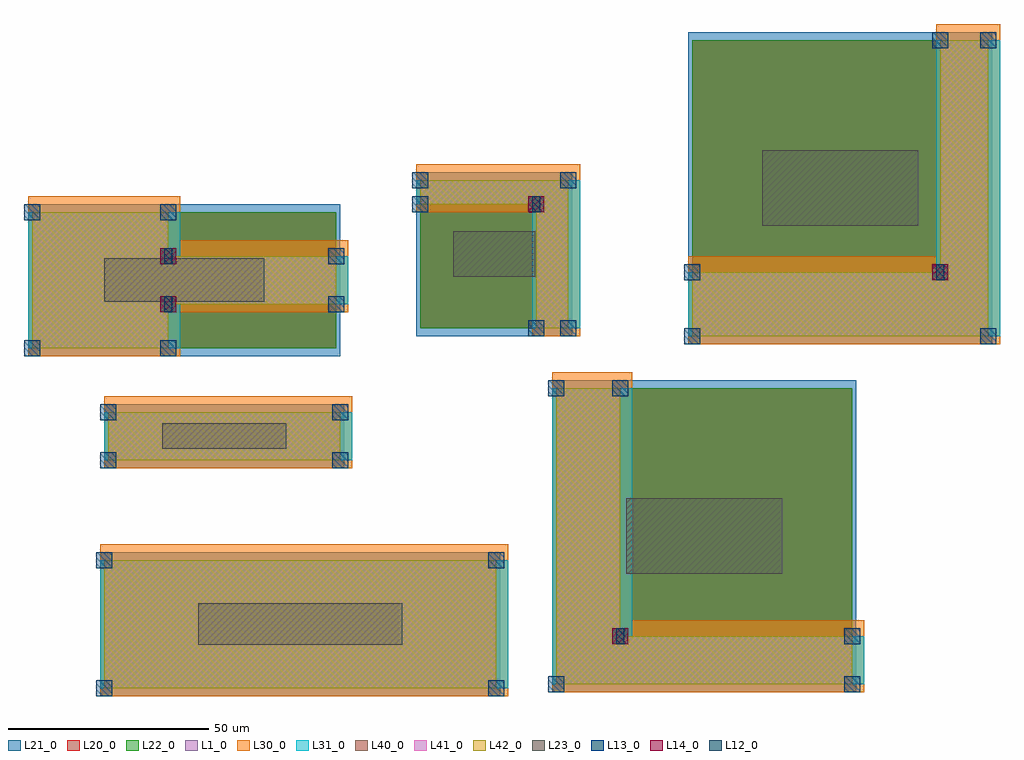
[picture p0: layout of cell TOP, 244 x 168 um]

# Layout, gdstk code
import gdstk
lib = gdstk.Library(unit=1e-6, precision=1e-09)
def R(c, l, rs):  # rectangles x0, y0, x1, y1
    for r in rs: c.add(gdstk.rectangle(r[:2], r[2:], *l))
def A(c, l, x, y, w, h, nx, ny, dx, dy):  # array of equal rectangles
    R(c, l, [(x+i*dx, y+j*dy, x+i*dx+w, y+j*dy+h) for i in range(nx) for j in range(ny)])
def P(c, l, *ps):  # polygons
    for p in ps: c.add(gdstk.Polygon(p, *l))
L1_0 = (1, 0)
L10_0 = (10, 0)
L11_0 = (11, 0)
L12_0 = (12, 0)
L13_0 = (13, 0)
L14_0 = (14, 0)
L20_0 = (20, 0)
L21_0 = (21, 0)
L22_0 = (22, 0)
L23_0 = (23, 0)
L24_0 = (24, 0)
L25_0 = (25, 0)
L26_0 = (26, 0)
L30_0 = (30, 0)
L31_0 = (31, 0)
L40_0 = (40, 0)
L41_0 = (41, 0)
L42_0 = (42, 0)

top = lib.new_cell('TOP')
A(top, L1_0, 7, -100, 58, 12, 1, 5, 0, 5)
A(top, L1_0, 47, -100, 58, 12, 1, 5, 0, 5)
R(top, L1_0, [(120,-99,194,-87), (120,-99,136,-25), (8,-43,66,-31), (-11,-15,23,19), (154,-12,228,4), (216,-12,228,62), (115,-10,123,27), (7,-4,65,8), (86,21,123,27)])
R(top, L12_0, [(135,-89,137,-85), (22,-6,24,-2), (215,2,217,6), (22,6,24,10), (114,19,116,23)])
R(top, L13_0, [(5,-102,9,-98), (103,-102,107,-98), (118,-101,122,-97), (192,-101,196,-97), (134,-89,138,-85), (192,-89,196,-85), (5,-70,9,-66), (103,-70,107,-66), (6,-45,10,-41), (64,-45,68,-41), (6,-33,10,-29), (64,-33,68,-29), (118,-27,122,-23), (134,-27,138,-23), (-13,-17,-9,-13), (21,-17,25,-13), (152,-14,156,-10), (226,-14,230,-10), (113,-12,117,-8), (121,-12,125,-8), (21,-6,25,-2), (63,-6,67,-2), (152,2,156,6), (214,2,218,6), (21,6,25,10), (63,6,67,10), (-13,17,-9,21), (21,17,25,21), (84,19,88,23), (113,19,117,23), (84,25,88,29), (121,25,125,29), (214,60,218,64), (226,60,230,64)])
R(top, L14_0, [(134,-89,138,-85), (21,-6,25,-2), (214,2,218,6), (21,6,25,10), (113,19,117,23)])
R(top, L20_0, [(7,-100,105,-68), (120,-99,194,-25), (8,-43,66,-31), (-11,-15,65,19), (154,-12,228,62), (86,-10,123,27)])
R(top, L21_0, [(6,-102,106,-66), (119,-101,195,-23), (7,-45,67,-29), (-12,-17,66,21), (153,-14,229,64), (85,-12,124,29)])
R(top, L22_0, [(7,-100,105,-68), (120,-99,194,-25), (8,-43,66,-31), (-11,-15,65,19), (154,-12,228,62), (86,-10,123,27)])
R(top, L23_0, [(30.5,-89.2,81.5,-78.8), (137.5,-71.4,176.5,-52.6), (21.5,-40.2,52.5,-33.8), (7,-3.4,47,7.4), (94.25,2.8,114.75,14.2), (171.5,15.6,210.5,34.4)])
R(top, L30_0, [(6,-102,108,-64), (7,-45,69,-27)])
P(top, L30_0, [(119,-101),(119,-21),(139,-21),(139,-83),(197,-83),(197,-101)],
  [(-12,-17),(-12,23),(26,23),(26,12),(68,12),(68,-6),(26,-6),(26,-17)],
  [(114,-12),(114,19),(85,19),(85,31),(126,31),(126,-12)],
  [(153,-14),(153,8),(215,8),(215,66),(231,66),(231,-14)])
R(top, L31_0, [(6,-100,108,-68), (7,-43,69,-31)])
P(top, L31_0, [(119,-99),(119,-25),(139,-25),(139,-87),(197,-87),(197,-99)],
  [(-12,-15),(-12,19),(26,19),(26,8),(68,8),(68,-4),(26,-4),(26,-15)],
  [(114,-10),(114,21),(85,21),(85,27),(126,27),(126,-10)],
  [(153,-12),(153,4),(215,4),(215,62),(231,62),(231,-12)])
R(top, L40_0, [(7,-100,105,-68), (120,-99,194,-87), (120,-87,136,-25), (8,-43,66,-31), (-11,-15,23,19), (154,-12,216,4), (216,-12,228,62), (115,-10,123,21), (23,-4,65,8), (86,21,123,27)])
R(top, L41_0, [(7,-100,105,-68), (120,-99,136,-25), (136,-99,194,-87), (8,-43,66,-31), (-11,-15,23,19), (154,-12,216,4), (216,-12,228,62), (115,-10,123,27), (23,-4,65,8), (86,21,115,27)])
R(top, L42_0, [(7,-100,105,-68), (120,-99,194,-87), (120,-87,136,-25), (8,-43,66,-31), (-11,-15,23,-4), (154,-12,228,4), (115,-10,123,21), (-11,-4,65,8), (216,4,228,62), (-11,8,23,19), (86,21,123,27)])
top.add(gdstk.FlexPath([(105,-100),(105,-100)], 0, ends="flush", simple_path=True, layer=10, datatype=0))  # L10_0
top.add(gdstk.FlexPath([(7,-100),(7,-100)], 0, ends="flush", simple_path=True, layer=10, datatype=0))  # L10_0
top.add(gdstk.FlexPath([(7,-68),(7,-68)], 0, ends="flush", simple_path=True, layer=10, datatype=0))  # L10_0
top.add(gdstk.FlexPath([(105,-68),(105,-68)], 0, ends="flush", simple_path=True, layer=10, datatype=0))  # L10_0
top.add(gdstk.FlexPath([(66,-43),(66,-43)], 0, ends="flush", simple_path=True, layer=10, datatype=0))  # L10_0
top.add(gdstk.FlexPath([(8,-43),(8,-43)], 0, ends="flush", simple_path=True, layer=10, datatype=0))  # L10_0
top.add(gdstk.FlexPath([(8,-31),(8,-31)], 0, ends="flush", simple_path=True, layer=10, datatype=0))  # L10_0
top.add(gdstk.FlexPath([(66,-31),(66,-31)], 0, ends="flush", simple_path=True, layer=10, datatype=0))  # L10_0
top.add(gdstk.FlexPath([(194,-99),(194,-99)], 0, ends="flush", simple_path=True, layer=10, datatype=0))  # L10_0
top.add(gdstk.FlexPath([(120,-99),(120,-99)], 0, ends="flush", simple_path=True, layer=10, datatype=0))  # L10_0
top.add(gdstk.FlexPath([(120,-25),(120,-25)], 0, ends="flush", simple_path=True, layer=10, datatype=0))  # L10_0
top.add(gdstk.FlexPath([(136,-25),(136,-25)], 0, ends="flush", simple_path=True, layer=10, datatype=0))  # L10_0
top.add(gdstk.FlexPath([(136,-87),(136,-87)], 0, ends="flush", simple_path=True, layer=10, datatype=0))  # L10_0
top.add(gdstk.FlexPath([(194,-87),(194,-87)], 0, ends="flush", simple_path=True, layer=10, datatype=0))  # L10_0
top.add(gdstk.FlexPath([(23,-15),(23,-15)], 0, ends="flush", simple_path=True, layer=10, datatype=0))  # L10_0
top.add(gdstk.FlexPath([(-11,-15),(-11,-15)], 0, ends="flush", simple_path=True, layer=10, datatype=0))  # L10_0
top.add(gdstk.FlexPath([(-11,19),(-11,19)], 0, ends="flush", simple_path=True, layer=10, datatype=0))  # L10_0
top.add(gdstk.FlexPath([(23,19),(23,19)], 0, ends="flush", simple_path=True, layer=10, datatype=0))  # L10_0
top.add(gdstk.FlexPath([(23,8),(23,8)], 0, ends="flush", simple_path=True, layer=10, datatype=0))  # L10_0
top.add(gdstk.FlexPath([(65,8),(65,8)], 0, ends="flush", simple_path=True, layer=10, datatype=0))  # L10_0
top.add(gdstk.FlexPath([(65,-4),(65,-4)], 0, ends="flush", simple_path=True, layer=10, datatype=0))  # L10_0
top.add(gdstk.FlexPath([(23,-4),(23,-4)], 0, ends="flush", simple_path=True, layer=10, datatype=0))  # L10_0
top.add(gdstk.FlexPath([(123,-10),(123,-10)], 0, ends="flush", simple_path=True, layer=10, datatype=0))  # L10_0
top.add(gdstk.FlexPath([(115,-10),(115,-10)], 0, ends="flush", simple_path=True, layer=10, datatype=0))  # L10_0
top.add(gdstk.FlexPath([(115,21),(115,21)], 0, ends="flush", simple_path=True, layer=10, datatype=0))  # L10_0
top.add(gdstk.FlexPath([(86,21),(86,21)], 0, ends="flush", simple_path=True, layer=10, datatype=0))  # L10_0
top.add(gdstk.FlexPath([(86,27),(86,27)], 0, ends="flush", simple_path=True, layer=10, datatype=0))  # L10_0
top.add(gdstk.FlexPath([(123,27),(123,27)], 0, ends="flush", simple_path=True, layer=10, datatype=0))  # L10_0
top.add(gdstk.FlexPath([(228,-12),(228,-12)], 0, ends="flush", simple_path=True, layer=10, datatype=0))  # L10_0
top.add(gdstk.FlexPath([(154,-12),(154,-12)], 0, ends="flush", simple_path=True, layer=10, datatype=0))  # L10_0
top.add(gdstk.FlexPath([(154,4),(154,4)], 0, ends="flush", simple_path=True, layer=10, datatype=0))  # L10_0
top.add(gdstk.FlexPath([(216,4),(216,4)], 0, ends="flush", simple_path=True, layer=10, datatype=0))  # L10_0
top.add(gdstk.FlexPath([(216,62),(216,62)], 0, ends="flush", simple_path=True, layer=10, datatype=0))  # L10_0
top.add(gdstk.FlexPath([(228,62),(228,62)], 0, ends="flush", simple_path=True, layer=10, datatype=0))  # L10_0
top.add(gdstk.FlexPath([(136,-87),(136,-87)], 0, ends="flush", simple_path=True, layer=11, datatype=0))  # L11_0
top.add(gdstk.FlexPath([(23,8),(23,8)], 0, ends="flush", simple_path=True, layer=11, datatype=0))  # L11_0
top.add(gdstk.FlexPath([(23,-4),(23,-4)], 0, ends="flush", simple_path=True, layer=11, datatype=0))  # L11_0
top.add(gdstk.FlexPath([(115,21),(115,21)], 0, ends="flush", simple_path=True, layer=11, datatype=0))  # L11_0
top.add(gdstk.FlexPath([(216,4),(216,4)], 0, ends="flush", simple_path=True, layer=11, datatype=0))  # L11_0
top.add(gdstk.FlexPath([(7,-100),(105,-68)], 0, ends="flush", simple_path=True, layer=24, datatype=0))  # L24_0
top.add(gdstk.FlexPath([(8,-43),(66,-31)], 0, ends="flush", simple_path=True, layer=24, datatype=0))  # L24_0
top.add(gdstk.FlexPath([(120,-99),(194,-25)], 0, ends="flush", simple_path=True, layer=24, datatype=0))  # L24_0
top.add(gdstk.FlexPath([(-11,-15),(65,19)], 0, ends="flush", simple_path=True, layer=24, datatype=0))  # L24_0
top.add(gdstk.FlexPath([(86,-10),(123,27)], 0, ends="flush", simple_path=True, layer=24, datatype=0))  # L24_0
top.add(gdstk.FlexPath([(154,-12),(228,62)], 0, ends="flush", simple_path=True, layer=24, datatype=0))  # L24_0
top.add(gdstk.FlexPath([(56,-84),(56,-84)], 0, ends="flush", simple_path=True, layer=25, datatype=0))  # L25_0
top.add(gdstk.FlexPath([(37,-37),(37,-37)], 0, ends="flush", simple_path=True, layer=25, datatype=0))  # L25_0
top.add(gdstk.FlexPath([(157,-62),(157,-62)], 0, ends="flush", simple_path=True, layer=25, datatype=0))  # L25_0
top.add(gdstk.FlexPath([(27,2),(27,2)], 0, ends="flush", simple_path=True, layer=25, datatype=0))  # L25_0
top.add(gdstk.FlexPath([(104.5,8.5),(104.5,8.5)], 0, ends="flush", simple_path=True, layer=25, datatype=0))  # L25_0
top.add(gdstk.FlexPath([(191,25),(191,25)], 0, ends="flush", simple_path=True, layer=25, datatype=0))  # L25_0
top.add(gdstk.FlexPath([(31.5,-87.2),(80.5,-80.8)], 0, ends="flush", simple_path=True, layer=26, datatype=0))  # L26_0
top.add(gdstk.FlexPath([(22.5,-38.2),(51.5,-35.8)], 0, ends="flush", simple_path=True, layer=26, datatype=0))  # L26_0
top.add(gdstk.FlexPath([(138.5,-69.4),(175.5,-54.6)], 0, ends="flush", simple_path=True, layer=26, datatype=0))  # L26_0
top.add(gdstk.FlexPath([(8,-1.4),(46,5.4)], 0, ends="flush", simple_path=True, layer=26, datatype=0))  # L26_0
top.add(gdstk.FlexPath([(95.25,4.8),(113.75,12.2)], 0, ends="flush", simple_path=True, layer=26, datatype=0))  # L26_0
top.add(gdstk.FlexPath([(172.5,17.6),(209.5,32.4)], 0, ends="flush", simple_path=True, layer=26, datatype=0))  # L26_0

lib.write_gds('TOP.gds')
